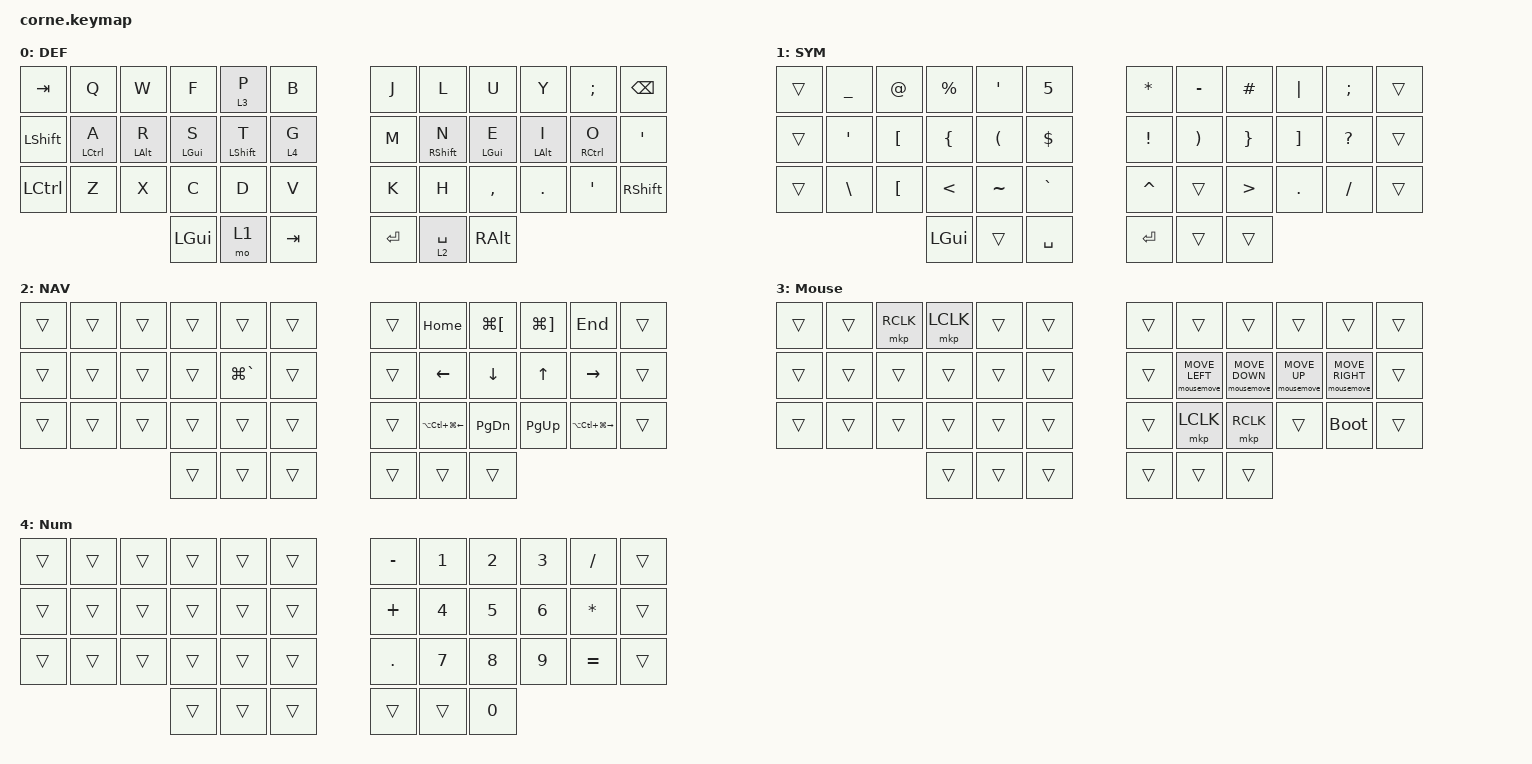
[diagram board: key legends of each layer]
#include <behaviors.dtsi>
#include <dt-bindings/zmk/keys.h>
#include <dt-bindings/zmk/mouse.h>

#define DEF 0
#define SYM 1
#define NAV 2
#define MOUSE 3
#define NUM 4

/ {
    behaviors {
        hm: homerow_mods {
            compatible = "zmk,behavior-hold-tap";
            label = "HOMEROW_MODS";
            #binding-cells = <2>;
            tapping-term-ms = <200>;
            quick_tap_ms = <0>;
            flavor = "tap-preferred";
            bindings = <&kp>, <&kp>;

            quick-tap-ms = <180>;
            global-quick-tap;
        };

        para: para {
            compatible = "zmk,behavior-tap-dance";
            label = "PARA";
            #binding-cells = <0>;
            bindings = <&kp LEFT_PARENTHESIS>, <&kp RIGHT_PARENTHESIS>;
        };

        caps: caps {
            compatible = "zmk,behavior-caps-word";
            label = "CAPS";
            #binding-cells = <0>;
            continue-list = <MINUS BACKSPACE>;
        };

        paraless: paraless {
            compatible = "zmk,behavior-mod-morph";
            label = "PARALESS";
            bindings = <&kp LEFT_PARENTHESIS>, <&kp LESS_THAN>;

            #binding-cells = <0>;
            mods = <(MOD_LSFT)>;
        };

        paragreat: paragreat {
            compatible = "zmk,behavior-mod-morph";
            label = "PARAGREAT";
            bindings = <&kp RIGHT_PARENTHESIS>, <&kp GREATER_THAN>;

            #binding-cells = <0>;
            mods = <(MOD_LSFT)>;
        };

        mousemove: mousemove {
            compatible = "zmk,behavior-mouse-move";
            label = "MOUSEMOVE";
            #binding-cells = <1>;
            delay-ms = <10>;
            time-to-max-speed-ms = <100>;
            acceleration-exponent = <2>;
        };
    };

    combos {
        compatible = "zmk,combos";

        backspace {
            bindings = <&kp BACKSPACE>;
            key-positions = <19 18>;
        };

        escape {
            bindings = <&kp ESCAPE>;
            key-positions = <1 2>;
        };

        delete {
            bindings = <&kp DELETE>;
            key-positions = <15 21>;
        };

        perc {
            bindings = <&kp PERCENT>;
            key-positions = <5 17>;
        };

        equal {
            bindings = <&kp EQUAL>;
            key-positions = <28 16>;
        };

        dollar {
            bindings = <&kp DOLLAR>;
            key-positions = <4 16>;
        };

        pound {
            bindings = <&kp POUND>;
            key-positions = <3 15>;
        };

        at {
            bindings = <&kp AT>;
            key-positions = <2 14>;
        };

        backslash {
            bindings = <&kp BACKSLASH>;
            key-positions = <26 14>;
        };

        copy {
            bindings = <&kp K_COPY>;
            key-positions = <28 27>;
        };

        paste {
            bindings = <&kp K_PASTE>;
            key-positions = <26 27>;
        };

        star {
            bindings = <&kp STAR>;
            key-positions = <8 20>;
        };

        slash {
            bindings = <&kp SLASH>;
            key-positions = <32 20>;
        };

        plus {
            bindings = <&kp PLUS>;
            key-positions = <7 19>;
        };

        minus {
            bindings = <&kp KP_MINUS>;
            key-positions = <31 19>;
        };

        underscore {
            bindings = <&kp UNDER>;
            key-positions = <30 18>;
        };

        leftbrack {
            bindings = <&kp LEFT_BRACKET>;
            key-positions = <31 32>;
        };

        rightbrack {
            bindings = <&kp RIGHT_BRACKET>;
            key-positions = <33 32>;
        };
    };

    //

    keymap {
        compatible = "zmk,keymap";

        DEF {
            // -----------------------------------------------------------------------------------------
            // |  Q  |  W  |  E  |  R  |  T  |   |  Y  |  U   |  I  |  O  |  P  |
            // |  A  |  S  |  D  |  F  |  G  |   |  H  |  J   |  K  |  L  |  ;  |
            // |  Z  |  X  |  C  |  V  |  B  |   |  N  |  M   |  ,  |  .  |  /  |
            // | GUI | CTRL | SHFT | LWR | SPC |   | ENT | RSE  | BKSP | ALT | ESC |

            bindings = <
&kp TAB    &kp Q        &kp W       &kp F         &lt 3 P       &kp B      &kp J    &kp L              &kp U           &kp Y           &kp SEMICOLON  &kp BACKSPACE
&kp LSHFT  &hm LCTRL A  &hm LALT R  &hm LGUI S    &hm LSHIFT T  &lt 4 G    &kp M    &hm RIGHT_SHIFT N  &hm LEFT_GUI E  &hm LEFT_ALT I  &hm RCTRL O    &kp SQT
&kp LCTRL  &kp Z        &kp X       &kp C         &kp D         &kp V      &kp K    &kp H              &kp COMMA       &kp DOT         &kp SQT        &kp RSHFT
                                    &kp LEFT_GUI  &mo 1         &kp TAB    &kp RET  &lt 2 SPACE        &kp RIGHT_ALT
            >;
        };

        SYM {
            // -----------------------------------------------------------------------------------------
            // |  TAB |  1  |  2  |  3  |  4  |  5  |   |  6  |  7  |  8  |  9  |  0  | BKSP |
            // | BTCLR| BT1 | BT2 | BT3 | BT4 | BT5 |   | LFT | DWN |  UP | RGT |     |      |
            // | SHFT |     |     |     |     |     |   |     |     |     |     |     |      |
            // | GUI | CTRL | SHFT | LWR | SPC |   | ENT | RSE  | BKSP | ALT | ESC |

            bindings = <
&trans  &kp UNDERSCORE  &kp AT            &kp PERCENT     &kp SQT               &kp N5        &kp ASTERISK     &kp MINUS              &kp HASH          &kp PIPE           &kp SEMICOLON  &trans
&trans  &kp SQT         &kp LEFT_BRACKET  &kp LEFT_BRACE  &kp LEFT_PARENTHESIS  &kp DOLLAR    &kp EXCLAMATION  &kp RIGHT_PARENTHESIS  &kp RIGHT_BRACE   &kp RIGHT_BRACKET  &kp QUESTION   &trans
&trans  &kp BACKSLASH   &kp LEFT_BRACKET  &kp LESS_THAN   &kp TILDE             &kp GRAVE     &kp CARET        &trans                 &kp GREATER_THAN  &kp PERIOD         &kp SLASH      &trans
                                          &kp LGUI        &trans                &kp SPACE     &kp RET          &trans                 &trans
            >;
        };

        NAV {
            // -----------------------------------------------------------------------------------------
            // |  TAB |  !  |  @  |  #  |  $  |  %  |   |  ^  |  &  |  *  |  (  |  )  | BKSP |
            // | CTRL |     |     |     |     |     |   |  -  |  =  |  [  |  ]  |  \  |  `   |
            // | SHFT |     |     |     |     |     |   |  _  |  +  |  {  |  }  | "|" |  ~   |
            //                    | GUI |     | SPC |   | ENT |     | ALT |

            bindings = <
&trans  &trans  &trans  &trans  &trans         &trans    &trans  &kp HOME              &kp LG(LEFT_BRACKET)  &kp LG(RIGHT_BRACKET)  &kp END                &trans
&trans  &trans  &trans  &trans  &kp LG(GRAVE)  &trans    &trans  &kp LEFT              &kp DOWN              &kp UP_ARROW           &kp RIGHT              &trans
&trans  &trans  &trans  &trans  &trans         &trans    &trans  &kp LA(LC(LG(LEFT)))  &kp PAGE_DOWN         &kp PG_UP              &kp LA(LC(LG(RIGHT)))  &trans
                        &trans  &trans         &trans    &trans  &trans                &trans
            >;
        };

        Mouse {
            bindings = <
&trans  &trans  &mkp RCLK  &mkp LCLK  &trans  &trans    &trans  &trans                &trans                &trans              &trans                 &trans
&trans  &trans  &trans     &trans     &trans  &trans    &trans  &mousemove MOVE_LEFT  &mousemove MOVE_DOWN  &mousemove MOVE_UP  &mousemove MOVE_RIGHT  &trans
&trans  &trans  &trans     &trans     &trans  &trans    &trans  &mkp LCLK             &mkp RCLK             &trans              &bootloader            &trans
                           &trans     &trans  &trans    &trans  &trans                &trans
            >;
        };

        Num {
            bindings = <
&trans  &trans  &trans  &trans  &trans  &trans    &kp MINUS   &kp NUMBER_1  &kp NUMBER_2  &kp NUMBER_3  &kp SLASH     &trans
&trans  &trans  &trans  &trans  &trans  &trans    &kp PLUS    &kp NUMBER_4  &kp N5        &kp NUMBER_6  &kp ASTERISK  &trans
&trans  &trans  &trans  &trans  &trans  &trans    &kp PERIOD  &kp N7        &kp N8        &kp N9        &kp EQUAL     &trans
                        &trans  &trans  &trans    &trans      &trans        &kp N0
            >;
        };
    };

    //conditional_layers {
    //    compatible = "zmk,conditional-layers";
    //
    //  l3 {
    //      if-layers = <1 2>;
    //      then-layer = <3>;
    //    };
    //};
};
